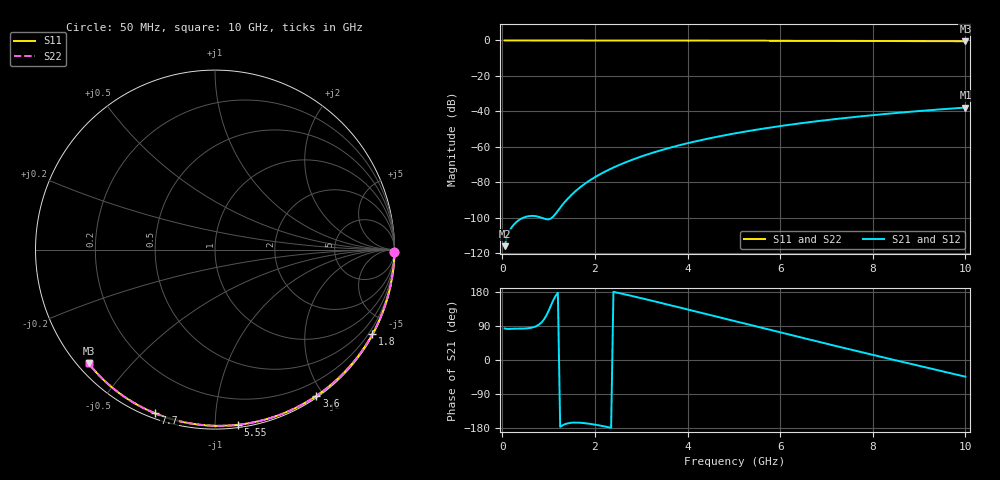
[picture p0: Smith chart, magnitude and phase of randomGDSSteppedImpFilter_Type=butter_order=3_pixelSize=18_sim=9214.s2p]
! freq	dB(S11)	phase(S11)	dB(S12)	phase(S12)
!  dB(S21)	phase(S21)	dB(S22)	phase(S22)
!S-par simulation data
#  GHz  S  DB  R 50
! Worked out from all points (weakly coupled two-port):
!   200 points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, 50 MHz to 10 GHz, reference 50 ohm
!   highest |S21| = -37.88 dB at 10 GHz (marker M1); lowest = -116.1 dB at 50 MHz (marker M2)
!   lowest |S11| = -0.5 dB at 10 GHz (marker M3), VSWR 37.15, Z = 1.54 - j19.2 ohm
!   |S11| at or under -10 dB: nowhere
!   |S22| runs from -0.5 to 0.0 dB; largest |S21 - S12| = 0
!   S11 on the Smith chart (normalised r, x): 50 MHz: open; 1.8 GHz: 0.03, -3.97; 3.6 GHz: 0.02, -1.91; 5.55 GHz: 0.02, -1.14; 7.7 GHz: 0.02, -0.70; 10 GHz: 0.03, -0.38
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0.05  -0.00 -0.8  -116.14 83.3  -116.14 83.3  -0.00 -0.8
0.45  -0.01 -7.2  -100.11 82.9  -100.11 82.9  -0.01 -7.2
0.9  -0.02 -14.3  -100.58 107.0  -100.58 107.0  -0.02 -14.3
1.75  -0.04 -27.5  -81.52 -166.3  -81.52 -166.3  -0.04 -27.5
1.8  -0.04 -28.3  -80.57 -167.0  -80.57 -167.0  -0.04 -28.3
1.85  -0.04 -29.1  -79.68 -167.7  -79.68 -167.7  -0.04 -29.1
2.05  -0.04 -32.1  -76.43 -171.6  -76.43 -171.6  -0.04 -32.1
2.25  -0.05 -35.2  -73.62 -176.3  -73.62 -176.3  -0.05 -35.2
2.55  -0.05 -39.7  -70.00 175.9  -70.00 175.9  -0.05 -39.7
2.95  -0.06 -45.7  -65.97 164.6  -65.97 164.6  -0.06 -45.7
3.4  -0.07 -52.4  -62.19 151.4  -62.19 151.4  -0.07 -52.4
3.6  -0.07 -55.3  -60.71 145.5  -60.71 145.5  -0.07 -55.3
3.9  -0.08 -59.6  -58.66 136.4  -58.66 136.4  -0.08 -59.6
4.3  -0.09 -65.3  -56.22 124.3  -56.22 124.3  -0.09 -65.3
5.05  -0.12 -75.7  -52.33 101.5  -52.33 101.5  -0.12 -75.7
5.55  -0.14 -82.5  -50.12 86.4  -50.12 86.4  -0.14 -82.5
6.1  -0.16 -89.8  -47.97 69.8  -47.97 69.8  -0.16 -89.8
6.7  -0.19 -97.5  -45.90 51.9  -45.90 51.9  -0.19 -97.5
7.7  -0.25 -110.1  -42.96 22.3  -42.96 22.3  -0.25 -110.1
8.35  -0.30 -118.1  -41.32 3.4  -41.32 3.4  -0.30 -118.1
9.2  -0.38 -128.4  -39.43 -21.1  -39.43 -21.1  -0.38 -128.4
10  -0.47 -138.0  -37.88 -44.0  -37.88 -44.0  -0.47 -138.0
